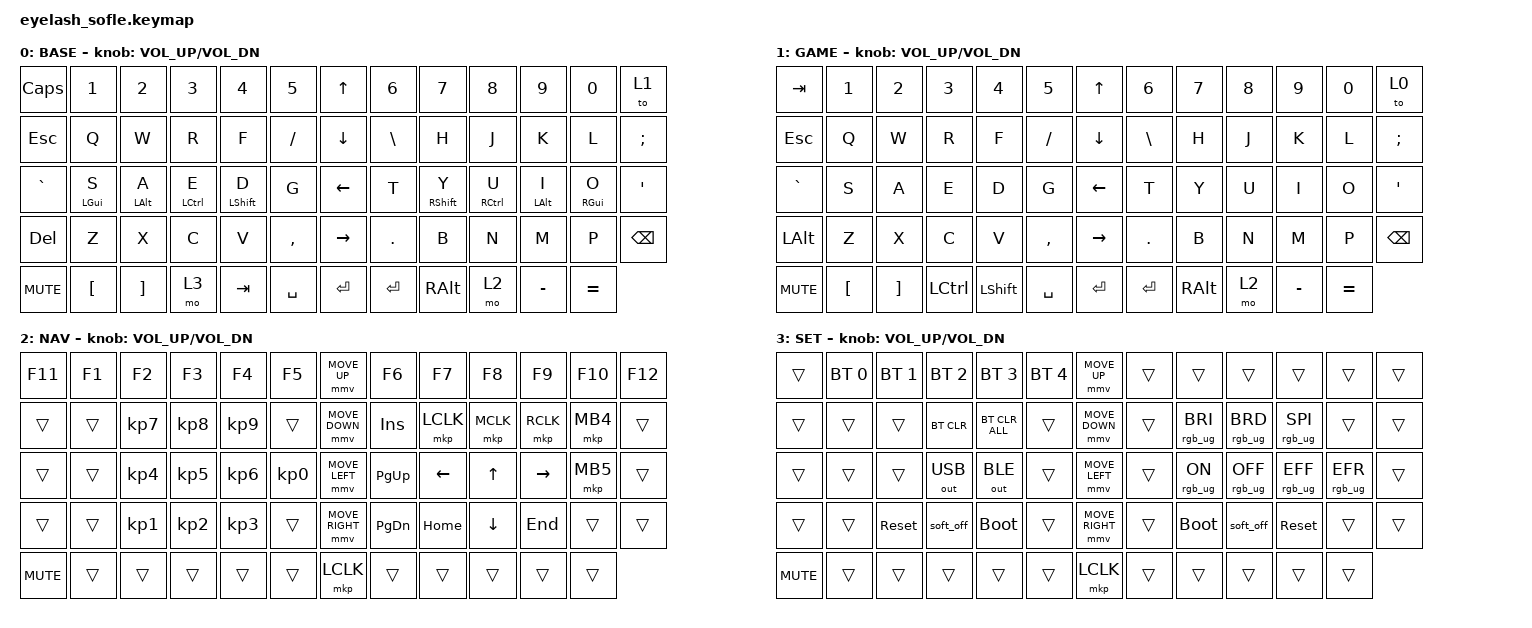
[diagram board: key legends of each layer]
#include <behaviors.dtsi>
#include <dt-bindings/zmk/bt.h>
#include <dt-bindings/zmk/keys.h>
#include <dt-bindings/zmk/mouse.h>
#include <dt-bindings/zmk/outputs.h>
#include <dt-bindings/zmk/rgb.h>

#include <input/processors.dtsi>

/*

   &mmv_input_listener {
       input-processors = <&zip_xy_scaler 2 1>;
   };

   &msc_input_listener {
       input-processors = <&zip_xy_scaler 2 1>;
   };

 */

#define ZMK_MOUSE_DEFAULT_MOVE_VAL 1200  // 600
#define ZMK_MOUSE_DEFAULT_SCRL_VAL 20    // 10


/ {
    behaviors {
        mmv {
            acceleration-exponent = <1>;      // 1
            time-to-max-speed-ms = <900>;    // 40
            delay-ms = <0>;                   // 0
        };

        msc {
            acceleration-exponent = <1>;      // 0
            time-to-max-speed-ms = <400>;      // 500
            delay-ms = <0>;                   //   10
        };

        mt {
            tapping-term-ms = <120>;
            flavor = "tap-preferred";
        };
    };

    scroll_encoder: scroll_encoder {
        compatible = "zmk,behavior-sensor-rotate";
        #sensor-binding-cells = <0>;
        bindings = <&msc SCRL_DOWN>, <&msc SCRL_UP>;

        tap-ms = <30>;
    };

    keymap {
        compatible = "zmk,keymap";

        base {
            bindings = <
&kp CAPS    &kp N1            &kp N2             &kp N3       &kp N4            &kp N5     &kp UP_ARROW     &kp N6         &kp N7             &kp N8       &kp N9          &kp N0           &to 1
&kp ESC     &kp Q             &kp W              &kp R        &kp F             &kp SLASH  &kp DOWN_ARROW   &kp BACKSLASH  &kp H              &kp J        &kp K           &kp L            &kp SEMI
&kp GRAVE   &mt LEFT_GUI S    &mt LEFT_ALT A     &mt LCTRL E  &mt LEFT_SHIFT D  &kp G      &kp LEFT_ARROW   &kp T          &mt RIGHT_SHIFT Y  &mt RCTRL U  &mt LEFT_ALT I  &mt RIGHT_GUI O  &kp APOS
&kp DELETE  &kp Z             &kp X              &kp C        &kp V             &kp COMMA  &kp RIGHT_ARROW  &kp PERIOD     &kp B              &kp N        &kp M           &kp P            &kp BACKSPACE
&kp C_MUTE  &kp LEFT_BRACKET  &kp RIGHT_BRACKET  &mo 3        &kp TAB           &kp SPACE  &kp ENTER        &kp ENTER      &kp RIGHT_ALT      &mo 2        &kp MINUS       &kp EQUAL
            >;

            sensor-bindings = <&inc_dec_kp C_VOLUME_UP C_VOL_DN>;
            display-name = "BASE";
        };

        game {
            bindings = <
&kp TAB       &kp N1            &kp N2             &kp N3       &kp N4          &kp N5     &kp UP_ARROW     &kp N6         &kp N7             &kp N8       &kp N9     &kp N0     &to 0
&kp ESC       &kp Q             &kp W              &kp R        &kp F           &kp SLASH  &kp DOWN_ARROW   &kp BACKSLASH  &kp H              &kp J        &kp K      &kp L      &kp SEMI
&kp GRAVE     &kp S             &kp A              &kp E        &kp D           &kp G      &kp LEFT_ARROW   &kp T          &kp Y              &kp U        &kp I      &kp O      &kp APOS
&kp LEFT_ALT  &kp Z             &kp X              &kp C        &kp V           &kp COMMA  &kp RIGHT_ARROW  &kp PERIOD     &kp B              &kp N        &kp M      &kp P      &kp BACKSPACE
&kp C_MUTE    &kp LEFT_BRACKET  &kp RIGHT_BRACKET  &kp LCTRL    &kp LEFT_SHIFT  &kp SPACE  &kp ENTER        &kp ENTER      &kp RIGHT_ALT      &mo 2        &kp MINUS  &kp EQUAL
            >;

            sensor-bindings = <&inc_dec_kp C_VOLUME_UP C_VOL_DN>;
            display-name = "GAME";
        };

        nav {
            bindings = <
&kp F11     &kp F1  &kp F2     &kp F3     &kp F4     &kp F5     &mmv MOVE_UP     &kp F6         &kp F7          &kp F8          &kp F9           &kp F10   &kp F12
&trans      &trans  &kp KP_N7  &kp KP_N8  &kp KP_N9  &trans     &mmv MOVE_DOWN   &kp INSERT     &mkp LCLK       &mkp MCLK       &mkp RCLK        &mkp MB4  &trans
&trans      &trans  &kp KP_N4  &kp KP_N5  &kp KP_N6  &kp KP_N0  &mmv MOVE_LEFT   &kp PAGE_UP    &kp LEFT_ARROW  &kp UP_ARROW    &kp RIGHT_ARROW  &mkp MB5  &trans
&trans      &trans  &kp KP_N1  &kp KP_N2  &kp KP_N3  &trans     &mmv MOVE_RIGHT  &kp PAGE_DOWN  &kp HOME        &kp DOWN_ARROW  &kp END          &trans    &trans
&kp C_MUTE  &trans  &trans     &trans     &trans     &trans     &mkp LCLK        &trans         &trans          &trans          &trans           &trans
            >;

            sensor-bindings = <&inc_dec_kp C_VOLUME_UP C_VOL_DN>;
            display-name = "NAV";
        };

        set {
            bindings = <
&trans      &bt BT_SEL 0  &bt BT_SEL 1  &bt BT_SEL 2  &bt BT_SEL 3    &bt BT_SEL 4  &mmv MOVE_UP     &trans  &trans           &trans           &trans           &trans           &trans
&trans      &trans        &trans        &bt BT_CLR    &bt BT_CLR_ALL  &trans        &mmv MOVE_DOWN   &trans  &rgb_ug RGB_BRI  &rgb_ug RGB_BRD  &rgb_ug RGB_SPI  &trans           &trans
&trans      &trans        &trans        &out OUT_USB  &out OUT_BLE    &trans        &mmv MOVE_LEFT   &trans  &rgb_ug RGB_ON   &rgb_ug RGB_OFF  &rgb_ug RGB_EFF  &rgb_ug RGB_EFR  &trans
&trans      &trans        &sys_reset    &soft_off     &bootloader     &trans        &mmv MOVE_RIGHT  &trans  &bootloader      &soft_off        &sys_reset       &trans           &trans
&kp C_MUTE  &trans        &trans        &trans        &trans          &trans        &mkp LCLK        &trans  &trans           &trans           &trans           &trans
            >;

            sensor-bindings = <&inc_dec_kp C_VOLUME_UP C_VOL_DN>;
            display-name = "SET";
        };
    };
};
